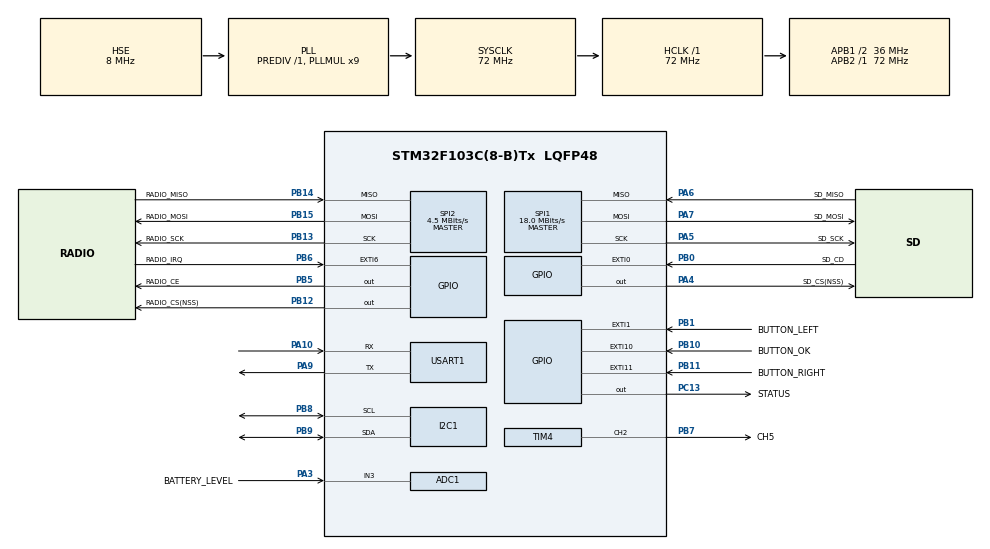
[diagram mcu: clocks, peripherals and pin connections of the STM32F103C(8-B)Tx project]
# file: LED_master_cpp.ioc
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ADC1.Channel-0\#ChannelRegularConversion=ADC_CHANNEL_3
ADC1.EnableAnalogWatchDog=false
ADC1.NbrOfConversion=1
ADC1.NbrOfConversionFlag=1
ADC1.Rank-0\#ChannelRegularConversion=1
ADC1.SamplingTime-0\#ChannelRegularConversion=ADC_SAMPLETIME_1CYCLE_5
ADC1.master=1
Dma.Request0=SPI1_RX
Dma.Request1=SPI1_TX
Dma.Request2=TIM4_CH2
Dma.SPI1_RX.0.Direction=DMA_PERIPH_TO_MEMORY
Dma.SPI1_RX.0.Instance=DMA1_Channel2
Dma.SPI1_RX.0.MemDataAlignment=DMA_MDATAALIGN_BYTE
Dma.SPI1_RX.0.MemInc=DMA_MINC_ENABLE
Dma.SPI1_RX.0.Mode=DMA_NORMAL
Dma.SPI1_RX.0.PeriphDataAlignment=DMA_PDATAALIGN_BYTE
Dma.SPI1_RX.0.PeriphInc=DMA_PINC_DISABLE
Dma.SPI1_RX.0.Priority=DMA_PRIORITY_LOW
Dma.SPI1_TX.1.Direction=DMA_MEMORY_TO_PERIPH
Dma.SPI1_TX.1.Instance=DMA1_Channel3
Dma.SPI1_TX.1.MemDataAlignment=DMA_MDATAALIGN_BYTE
Dma.SPI1_TX.1.MemInc=DMA_MINC_DISABLE
Dma.SPI1_TX.1.Mode=DMA_NORMAL
Dma.SPI1_TX.1.PeriphDataAlignment=DMA_PDATAALIGN_BYTE
Dma.SPI1_TX.1.PeriphInc=DMA_PINC_DISABLE
Dma.SPI1_TX.1.Priority=DMA_PRIORITY_LOW
Dma.TIM4_CH2.2.Direction=DMA_MEMORY_TO_PERIPH
Dma.TIM4_CH2.2.Instance=DMA1_Channel4
Dma.TIM4_CH2.2.MemDataAlignment=DMA_MDATAALIGN_BYTE
Dma.TIM4_CH2.2.MemInc=DMA_MINC_ENABLE
Dma.TIM4_CH2.2.Mode=DMA_CIRCULAR
Dma.TIM4_CH2.2.PeriphDataAlignment=DMA_PDATAALIGN_HALFWORD
Dma.TIM4_CH2.2.PeriphInc=DMA_PINC_DISABLE
Dma.TIM4_CH2.2.Priority=DMA_PRIORITY_VERY_HIGH
FATFS._CODE_PAGE=437
FATFS._FS_TIMEOUT=1000
FATFS._FS_TINY=1
FATFS._MAX_LFN=16
FATFS._USE_FIND=1
Mcu.Family=STM32F1
Mcu.Name=STM32F103C(8-B)Tx
Mcu.Package=LQFP48
NVIC.DMA1_Channel2_IRQn=true\:0\:0\:false\:false\:true\:false\:true
NVIC.DMA1_Channel3_IRQn=true\:0\:0\:false\:false\:true\:false\:true
NVIC.DMA1_Channel4_IRQn=true\:0\:0\:true\:false\:true\:false\:true
NVIC.EXTI9_5_IRQn=true\:0\:0\:false\:false\:true\:true\:true
NVIC.PriorityGroup=NVIC_PRIORITYGROUP_4
PA0-WKUP.GPIO_Label=CH1
PA0-WKUP.Signal=S_TIM2_CH1_ETR
PA1.GPIO_Label=CH2
PA1.Signal=S_TIM2_CH2
PA10.Mode=Asynchronous
PA10.Signal=USART1_RX
PA13.Mode=Serial_Wire
PA13.Signal=SYS_JTMS-SWDIO
PA14.Mode=Serial_Wire
PA14.Signal=SYS_JTCK-SWCLK
PA2.GPIO_Label=CH3
PA2.Signal=S_TIM2_CH3
PA3.GPIO_Label=BATTERY_LEVEL
PA3.Signal=ADCx_IN3
PA4.GPIO_Label=SD_CS(NSS)
PA4.Signal=GPIO_Output
PA5.GPIO_Label=SD_SCK
PA5.Mode=Full_Duplex_Master
PA5.Signal=SPI1_SCK
PA6.GPIO_Label=SD_MISO
PA6.Mode=Full_Duplex_Master
PA6.Signal=SPI1_MISO
PA7.GPIO_Label=SD_MOSI
PA7.Mode=Full_Duplex_Master
PA7.Signal=SPI1_MOSI
PA9.Mode=Asynchronous
PA9.Signal=USART1_TX
PB0.GPIO_Label=SD_CD
PB0.GPIO_ModeDefaultEXTI=GPIO_MODE_IT_FALLING
PB0.GPIO_PuPd=GPIO_PULLUP
PB0.Signal=GPXTI0
PB1.GPIO_Label=BUTTON_LEFT
PB1.GPIO_ModeDefaultEXTI=GPIO_MODE_IT_FALLING
PB1.GPIO_PuPd=GPIO_PULLUP
PB1.Signal=GPXTI1
PB10.GPIO_Label=BUTTON_OK
PB10.GPIO_ModeDefaultEXTI=GPIO_MODE_IT_FALLING
PB10.GPIO_PuPd=GPIO_PULLUP
PB10.Signal=GPXTI10
PB11.GPIO_Label=BUTTON_RIGHT
PB11.GPIO_ModeDefaultEXTI=GPIO_MODE_IT_FALLING
PB11.GPIO_PuPd=GPIO_PULLUP
PB11.Signal=GPXTI11
PB12.GPIO_Label=RADIO_CS(NSS)
PB12.GPIO_PuPd=GPIO_PULLUP
PB12.GPIO_Speed=GPIO_SPEED_FREQ_HIGH
PB12.PinState=GPIO_PIN_SET
PB12.Signal=GPIO_Output
PB13.GPIO_Label=RADIO_SCK
PB13.Mode=Full_Duplex_Master
PB13.Signal=SPI2_SCK
PB14.GPIO_Label=RADIO_MISO
PB14.Mode=Full_Duplex_Master
PB14.Signal=SPI2_MISO
PB15.GPIO_Label=RADIO_MOSI
PB15.Mode=Full_Duplex_Master
PB15.Signal=SPI2_MOSI
PB4.GPIO_Label=CH4
PB4.Signal=S_TIM3_CH1
PB5.GPIO_Label=RADIO_CE
PB5.GPIO_ModeDefaultOutputPP=GPIO_MODE_OUTPUT_PP
PB5.GPIO_PuPd=GPIO_PULLUP
PB5.GPIO_Speed=GPIO_SPEED_FREQ_HIGH
PB5.PinState=GPIO_PIN_SET
PB5.Signal=GPIO_Output
PB6.GPIO_Label=RADIO_IRQ
PB6.GPIO_ModeDefaultEXTI=GPIO_MODE_IT_FALLING
PB6.GPIO_PuPd=GPIO_PULLUP
PB6.Signal=GPXTI6
PB7.GPIO_Label=CH5
PB7.Signal=S_TIM4_CH2
PB8.Mode=I2C
PB8.Signal=I2C1_SCL
PB9.Mode=I2C
PB9.Signal=I2C1_SDA
PC13-TAMPER-RTC.GPIO_Label=STATUS
PC13-TAMPER-RTC.GPIO_PuPd=GPIO_PULLDOWN
PC13-TAMPER-RTC.Signal=GPIO_Output
PC14-OSC32_IN.Mode=LSE-External-Oscillator
PC14-OSC32_IN.Signal=RCC_OSC32_IN
PC15-OSC32_OUT.Mode=LSE-External-Oscillator
PC15-OSC32_OUT.Signal=RCC_OSC32_OUT
PD0-OSC_IN.Mode=HSE-External-Oscillator
PD0-OSC_IN.Signal=RCC_OSC_IN
PD1-OSC_OUT.Mode=HSE-External-Oscillator
PD1-OSC_OUT.Signal=RCC_OSC_OUT
ProjectManager.HeapSize=0x200
ProjectManager.StackSize=0x400
ProjectManager.TargetToolchain=STM32CubeIDE
RCC.ADCPresc=RCC_ADCPCLK2_DIV6
RCC.AHBFreq_Value=72000000
RCC.APB1CLKDivider=RCC_HCLK_DIV2
RCC.APB1Freq_Value=36000000
RCC.APB1TimFreq_Value=72000000
RCC.APB2Freq_Value=72000000
RCC.APB2TimFreq_Value=72000000
RCC.HCLKFreq_Value=72000000
RCC.PLLMUL=RCC_PLL_MUL9
RCC.PLLSourceVirtual=RCC_PLLSOURCE_HSE
RCC.SYSCLKFreq_VALUE=72000000
RCC.SYSCLKSource=RCC_SYSCLKSOURCE_PLLCLK
RCC.USBFreq_Value=72000000
SH.ADCx_IN3.0=ADC1_IN3,IN3
SH.S_TIM2_CH1_ETR.0=TIM2_CH1
SH.S_TIM2_CH2.0=TIM2_CH2
SH.S_TIM2_CH3.0=TIM2_CH3
SH.S_TIM3_CH1.0=TIM3_CH1
SH.S_TIM4_CH2.0=TIM4_CH2,PWM Generation2 CH2
SPI1.BaudRatePrescaler=SPI_BAUDRATEPRESCALER_4
SPI1.CLKPhase=SPI_PHASE_1EDGE
SPI1.CLKPolarity=SPI_POLARITY_LOW
SPI1.CRCCalculation=SPI_CRCCALCULATION_DISABLE
SPI1.CalculateBaudRate=18.0 MBits/s
SPI1.Direction=SPI_DIRECTION_2LINES
SPI1.Mode=SPI_MODE_MASTER
SPI1.VirtualType=VM_MASTER
SPI2.BaudRatePrescaler=SPI_BAUDRATEPRESCALER_8
SPI2.CalculateBaudRate=4.5 MBits/s
SPI2.Direction=SPI_DIRECTION_2LINES
SPI2.Mode=SPI_MODE_MASTER
SPI2.VirtualType=VM_MASTER
TIM4.AutoReloadPreload=TIM_AUTORELOAD_PRELOAD_DISABLE
TIM4.Channel-PWM\ Generation2\ CH2=TIM_CHANNEL_2
TIM4.OC2Preload_PWM=ENABLE
TIM4.OCFastMode_PWM-PWM\ Generation2\ CH2=TIM_OCFAST_ENABLE
TIM4.OCMode_PWM-PWM\ Generation2\ CH2=TIM_OCMODE_PWM1
TIM4.Period=89
TIM4.TIM_MasterOutputTrigger=TIM_TRGO_RESET
USART1.VirtualMode=VM_ASYNC
VP_FATFS_VS_Generic.Mode=User_defined
VP_TIM4_VS_ClockSourceINT.Mode=Internal
board=custom

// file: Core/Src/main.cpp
/* USER CODE BEGIN Header */
/**
  ******************************************************************************
  * @file           : main.c
  * @brief          : Main program body
  ******************************************************************************
  * @attention
  *
  * <h2><center>&copy; Copyright (c) 2020 STMicroelectronics.
  * All rights reserved.</center></h2>
  *
  * This software component is licensed by ST under BSD 3-Clause license,
  * the "License"; You may not use this file except in compliance with the
  * License. You may obtain a copy of the License at:
  *                        opensource.org/licenses/BSD-3-Clause
  *
  ******************************************************************************
  */
/* USER CODE END Header */
#include "main.h"
#include "adc.h"
#include "dma.h"
#include "fatfs.h"
#include "i2c.h"
#include "spi.h"
#include "tim.h"
#include "usart.h"
#include "gpio.h"

/* USER CODE BEGIN Includes */
extern "C" {
#include <string.h>
#include <stdio.h>
#include "userUSART.h"
#include "userSD.h"
#include "userWS2812.h"
#include "RF24.h"
}

#include "GyverButton_HALmod.h"
#include "Battery.h"
/* USER CODE END Includes */

/* USER CODE BEGIN PV */
char debug_message[] = "_____________unknown error_____________";
WS2812_t WS2812_ch5;
SD_t SD;
volatile uint32_t user_ms_counter;
uint8_t NRF_status = 0;
/* USER CODE END PV */

void SystemClock_Config(void);

/* USER CODE BEGIN 0 */
Battery bat(2800, 4200);

GButton butt_OK(BUTTON_OK_GPIO_Port, BUTTON_OK_Pin);
GButton butt_RIGHT(BUTTON_RIGHT_GPIO_Port, BUTTON_RIGHT_Pin);
GButton butt_LEFT(BUTTON_LEFT_GPIO_Port, BUTTON_LEFT_Pin);

uint8_t show_bat_level (void){
	uint8_t bat_level;
	WS2812_clear(&SD);
	WS2812_start(&WS2812_ch5, &SD, &htim4, TIM_CHANNEL_2, to_show_massage);
	do {
		bat_level = bat.level();
		for (int i = bat_level/11; i >= 0; i--) {
			if		(i<3)	WS2812_setColor(&SD, i, RED);
			else if (i<7)	WS2812_setColor(&SD, i, YELLOW);
			else			WS2812_setColor(&SD, i, GREEN);
		}
	} while (butt_RIGHT.isHold() || butt_LEFT.isHold());
	HAL_Delay(2000);
	WS2812_clear(&SD);
	printf("bat_level: %d\r\n", bat_level);
	return HAL_OK;
}

uint8_t show_file_number(void){
	WS2812_clear(&SD);
	if (SD.repeate_mode==repeate_off) {
		WS2812_setColor(&SD, SD.file_num - 1, BLUE);
	}
	else if (SD.repeate_mode==repeate_one) {
		WS2812_setColor(&SD, SD.file_num - 1, GREEN);
	}
	else if (SD.repeate_mode==repeate_all) {
		WS2812_setColor(&SD, SD.file_num - 1, RED);
	}
	return HAL_OK;
}

uint8_t show_alarm(COLORS color){
	WS2812_fill(&SD, color);
	return WS2812_start(&WS2812_ch5, &SD, &htim4, TIM_CHANNEL_2, to_show_massage);
}

uint8_t play (void){
	HAL_TIM_PWM_Stop_DMA(&htim4, TIM_CHANNEL_2);

  	if(SD_prepare_file(&SD)==FR_OK){

	  	if (WS2812_start(&WS2812_ch5, &SD, &htim4, TIM_CHANNEL_2, to_play_file) == HAL_OK){
	  		SD.play_flag = 1;
			#ifdef DEBUG_ON
	  		printf("WS2812_start: OK \r\n");
			#endif
	  		return HAL_OK;
	  	}
	  	else{
	  		printf("WS2812_start: ERROR  \r\n");
	  		return HAL_ERROR;
	  	}
	}
	else{
		show_alarm(RED);
		printf("file prepare ERROR: %s\r\n",SD.file_name);
		return HAL_ERROR;
	}
}
/* USER CODE END 0 */

int main(void)
{

  /* MCU Configuration--------------------------------------------------------*/

  /* Reset of all peripherals, Initializes the Flash interface and the Systick. */
  HAL_Init();

  /* Configure the system clock */
  SystemClock_Config();

  /* Initialize all configured peripherals */
  MX_GPIO_Init();
  MX_DMA_Init();
  MX_ADC1_Init();
  MX_I2C1_Init();
  MX_SPI1_Init();
  MX_SPI2_Init();
  MX_USART1_UART_Init();
  MX_FATFS_Init();
  MX_TIM4_Init();
  /* USER CODE BEGIN 2 */
	HAL_Delay(100);
	bat.begin(3400, 2, sigmoidal);
	butt_OK.setTickMode(AUTO);
	butt_LEFT.setTickMode(AUTO);
	butt_RIGHT.setTickMode(AUTO);
	butt_OK.setTimeout(3000);//таймаут (мс) удержания кнопки (для остальных по умолчанию он равен 300 мс)

	// чтение файла с настройками из SD карты
	if (SD_read_settings(&SD)!=FR_OK){
		SD.status = HAL_ERROR;
		show_alarm(RED);
		HAL_Delay(500);
		printf("SD_read_settings: ERROR \r\n");;
	}
	else SD.status = HAL_OK;

	// инициализация радиомодуля
	if (NRF_Init(SD.radio_channel_num, 0xE8E8F0F0E2LL) != HAL_OK){
		NRF_status = HAL_ERROR;
		show_alarm(YELLOW);
		printf("NRF_Init: ERROR \r\n");
	}
	else NRF_status = HAL_OK;

	// если все OK
	if(SD.status == HAL_OK && NRF_status == HAL_OK){
		// индикация заряда батареи и номера файла, затем отключение свечения ленты
		show_bat_level();						// 2000 мс
		show_file_number(); HAL_Delay(2000);	// 2000 мс
		WS2812_clear(&SD);
	}

  /* USER CODE END 2 */

  /* Infinite loop */
  /* USER CODE BEGIN WHILE */
	while (1) {

	// если воспроизведение запущено и >= половины кольцевого буфера SD карты вычитана в ленту
	if (SD.play_flag==1 && SD.update_flag==1) {
		// обновление кольцевого буфера
		SD.result.update = (FRESULT) SD_update_bufer(&SD);

		// если файл закончился или иная причина невозможности обновить буфер
		if (SD.result.update != FR_OK) {
			WS2812_clear(&SD);//отключение дисплея

			if (SD.repeate_mode==repeate_off) {
				SD.play_flag=0;
				HAL_Delay(100);
				WS2812_start(&WS2812_ch5, &SD, &htim4, TIM_CHANNEL_2, to_show_massage);
				printf("play is stop\r\n");
			}
			else if (SD.repeate_mode==repeate_one) {
				play();//play old file again
				printf("repeat old file %d\r\n", (int) HAL_GetTick());
			}
			else if (SD.repeate_mode==repeate_all) {
				SD_change_file(&SD, +1, 255);
				play();//play new file again
				printf("repeat new file %d\r\n", (int) HAL_GetTick());
			}
		}

		SD.update_flag=0;
	}

	// если клик по кнопке ОК, SD карта и радиомодуль готовы и проигрывание ещё не начато - посылка синхропосылки и старт воспроизведения файла
	if (butt_OK.isClick() && SD.status == HAL_OK && NRF_status == HAL_OK && SD.play_flag == 0) {
		radio_tx_sync ();//duration 50 ms
		play();
		HAL_GPIO_TogglePin(STATUS_GPIO_Port, STATUS_Pin);
	}

	//// если удержание кнопки ОК - остановить воспроизведение
	//if (butt_OK.isHolded() ) {
	//	WS2812_clear(&SD);
	//	SD.play_flag=0;
	//	HAL_Delay(100);
	//	WS2812_start(&WS2812_ch5, &SD, &htim4, TIM_CHANNEL_2, to_show_massage);
	//	printf("play is stop\r\n");
	//	HAL_GPIO_TogglePin(STATUS_GPIO_Port, STATUS_Pin);
	//}
	//____________________________________________________________________________________________________

	// если удерживается нажаттой кнопка ОК - остановка воспроизведения
	if (butt_OK.isHolded()) {
		SD.play_flag=0;
		WS2812_clear(&SD);
		HAL_Delay(100);
		WS2812_start(&WS2812_ch5, &SD, &htim4, TIM_CHANNEL_2, to_show_massage);
		printf("play is stop\r\n");
		HAL_GPIO_TogglePin(STATUS_GPIO_Port, STATUS_Pin);
	}
	////____________________________________________________________________________________________________

	// если клик по кнопке влево и никакой файл НЕ проигрывается
	if (butt_LEFT.isClick() && !SD.play_flag) {
		// попытка переключить на 1 файл назад
		if (SD_change_file(&SD, -1, 255) == HAL_OK){
			show_file_number();
		}
		// если переключить неудалось - индикация аварии
		else {
			show_alarm(RED);
		}
		HAL_GPIO_TogglePin(STATUS_GPIO_Port, STATUS_Pin);
	}
	//____________________________________________________________________________________________________

	// если клик по кнопке вправо и никакой файл НЕ проигрывается
	if (butt_RIGHT.isClick() && !SD.play_flag) {
		// попытка переключить на 1 файл вперёд
		if (SD_change_file(&SD, +1, 255) == HAL_OK){
			show_file_number();
		}
		// если переключить неудалось - индикация аварии
		else {
			show_alarm(RED);
		}
		HAL_GPIO_TogglePin(STATUS_GPIO_Port, STATUS_Pin);
	}
	//____________________________________________________________________________________________________

	// если удерживается нажатой кнопка влево или вправо - показать уровень заряда батареи
	if (butt_RIGHT.isHolded() | butt_LEFT.isHolded() && SD.play_flag==0) {
		show_bat_level();
	}
	//____________________________________________________________________________________________________

	// если SD карта и радиомодуль готовы и по радиоканалу получена синхропосылка - старт воспроизведения файла
	if(NRF_status == HAL_OK && SD.status == HAL_OK && radio_rx_sync () == 1) {//duration 50 ms
		play();
		HAL_GPIO_TogglePin(STATUS_GPIO_Port, STATUS_Pin);
	}
	//____________________________________________________________________________________________________

//	if (user_ms_counter%200 == 0) {
//		user_ms_counter++;
//		NRF_Init(SD.radio_channel_num, 0xE8E8F0F0E2LL);
//		HAL_GPIO_TogglePin(STATUS_GPIO_Port, STATUS_Pin);
//	}

    /* USER CODE END WHILE */

  }
}

void SystemClock_Config(void)
{
  RCC_OscInitTypeDef RCC_OscInitStruct = {0};
  RCC_ClkInitTypeDef RCC_ClkInitStruct = {0};
  RCC_PeriphCLKInitTypeDef PeriphClkInit = {0};

  /** Initializes the RCC Oscillators according to the specified parameters
  * in the RCC_OscInitTypeDef structure.
  */
  RCC_OscInitStruct.OscillatorType = RCC_OSCILLATORTYPE_HSE;
  RCC_OscInitStruct.HSEState = RCC_HSE_ON;
  RCC_OscInitStruct.HSEPredivValue = RCC_HSE_PREDIV_DIV1;
  RCC_OscInitStruct.HSIState = RCC_HSI_ON;
  RCC_OscInitStruct.PLL.PLLState = RCC_PLL_ON;
  RCC_OscInitStruct.PLL.PLLSource = RCC_PLLSOURCE_HSE;
  RCC_OscInitStruct.PLL.PLLMUL = RCC_PLL_MUL9;
  if (HAL_RCC_OscConfig(&RCC_OscInitStruct) != HAL_OK)
  {
    Error_Handler();
  }
  /** Initializes the CPU, AHB and APB buses clocks
  */
  RCC_ClkInitStruct.ClockType = RCC_CLOCKTYPE_HCLK|RCC_CLOCKTYPE_SYSCLK
                              |RCC_CLOCKTYPE_PCLK1|RCC_CLOCKTYPE_PCLK2;
  RCC_ClkInitStruct.SYSCLKSource = RCC_SYSCLKSOURCE_PLLCLK;
  RCC_ClkInitStruct.AHBCLKDivider = RCC_SYSCLK_DIV1;
  RCC_ClkInitStruct.APB1CLKDivider = RCC_HCLK_DIV2;
  RCC_ClkInitStruct.APB2CLKDivider = RCC_HCLK_DIV1;

  if (HAL_RCC_ClockConfig(&RCC_ClkInitStruct, FLASH_LATENCY_2) != HAL_OK)
  {
    Error_Handler();
  }
  PeriphClkInit.PeriphClockSelection = RCC_PERIPHCLK_ADC;
  PeriphClkInit.AdcClockSelection = RCC_ADCPCLK2_DIV6;
  if (HAL_RCCEx_PeriphCLKConfig(&PeriphClkInit) != HAL_OK)
  {
    Error_Handler();
  }
}

void Error_Handler(void)
{
  /* USER CODE BEGIN Error_Handler_Debug */
  /* User can add his own implementation to report the HAL error return state */
	#ifdef DEBUG_ON
	printf("%s\r\n", debug_message);
	strcpy (debug_message, "_____________unknown error_____________");
	#endif
  /* USER CODE END Error_Handler_Debug */
}

/************************ (C) COPYRIGHT STMicroelectronics *****END OF FILE****/
